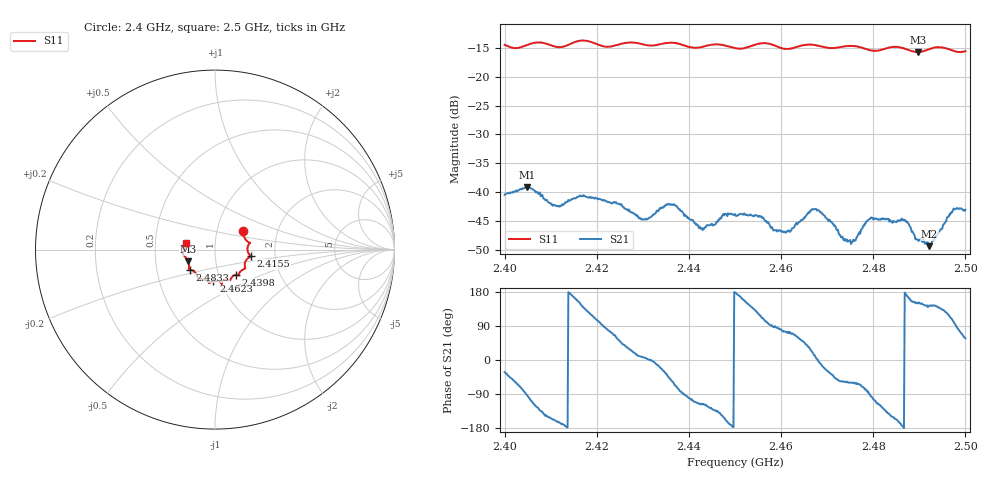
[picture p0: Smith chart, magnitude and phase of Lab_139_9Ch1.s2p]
# Hz S RI R 50
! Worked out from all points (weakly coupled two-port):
!   601 points, 2.4 GHz to 2.5 GHz, reference 50 ohm
!   highest |S21| = -39.11 dB at 2.4048 GHz (marker M1); lowest = -49.4 dB at 2.4922 GHz (marker M2)
!   lowest |S11| = -15.7 dB at 2.4897 GHz (marker M3), VSWR 1.39, Z = 36.7 - j4.94 ohm
!   |S11| at or under -10 dB: start of sweep to end of sweep
!   S12 and S22 are empty: the file has one direction only
!   S11 on the Smith chart (normalised r, x): 2.4 GHz: 1.33, +0.29; 2.4155 GHz: 1.49, -0.11; 2.4398 GHz: 1.21, -0.35; 2.4623 GHz: 0.92, -0.34; 2.4833 GHz: 0.74, -0.17; 2.5 GHz: 0.72, +0.05
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2.4e9  0.1567 0.1059  0.00799 -0.00501  0 0  0 0
2.404833e9  0.1835 0.0431  -0.000484 -0.0111  0 0  0 0
2.411e9  0.1818 0.014  -0.0072 -0.00265  0 0  0 0
2.4155e9  0.1983 -0.036  -0.00835 0.00295  0 0  0 0
2.416667e9  0.2023 -0.0401  -0.00749 0.00537  0 0  0 0
2.4245e9  0.1661 -0.0908  0.00446 0.00655  0 0  0 0
2.43e9  0.1553 -0.1119  0.00572 0.000759  0 0  0 0
2.433333e9  0.1342 -0.1342  0.00657 -0.00168  0 0  0 0
2.436667e9  0.1336 -0.1447  0.00385 -0.00678  0 0  0 0
2.439833e9  0.1167 -0.1398  -0.000945 -0.00593  0 0  0 0
2.443e9  0.0916 -0.1572  -0.00206 -0.00419  0 0  0 0
2.45e9  0.0638 -0.1654  -0.00643 0.000225  0 0  0 0
2.462333e9  -0.00862 -0.1761  0.0016 0.00453  0 0  0 0
2.466667e9  -0.0335 -0.1869  0.00651 0.00271  0 0  0 0
2.475e9  -0.0905 -0.1616  0.00194 -0.00331  0 0  0 0
2.479333e9  -0.1065 -0.132  -0.000334 -0.00584  0 0  0 0
2.483333e9  -0.1397 -0.1115  -0.00459 -0.00365  0 0  0 0
2.487e9  -0.1447 -0.0976  -0.00565 0.000529  0 0  0 0
2.489667e9  -0.1498 -0.0656  -0.00332 0.00193  0 0  0 0
2.492167e9  -0.1698 -0.0365  -0.00273 0.002  0 0  0 0
2.497333e9  -0.1682 -0.00235  -0.00156 0.00688  0 0  0 0
2.5e9  -0.1627 0.0371  0.00382 0.00588  0 0  0 0
